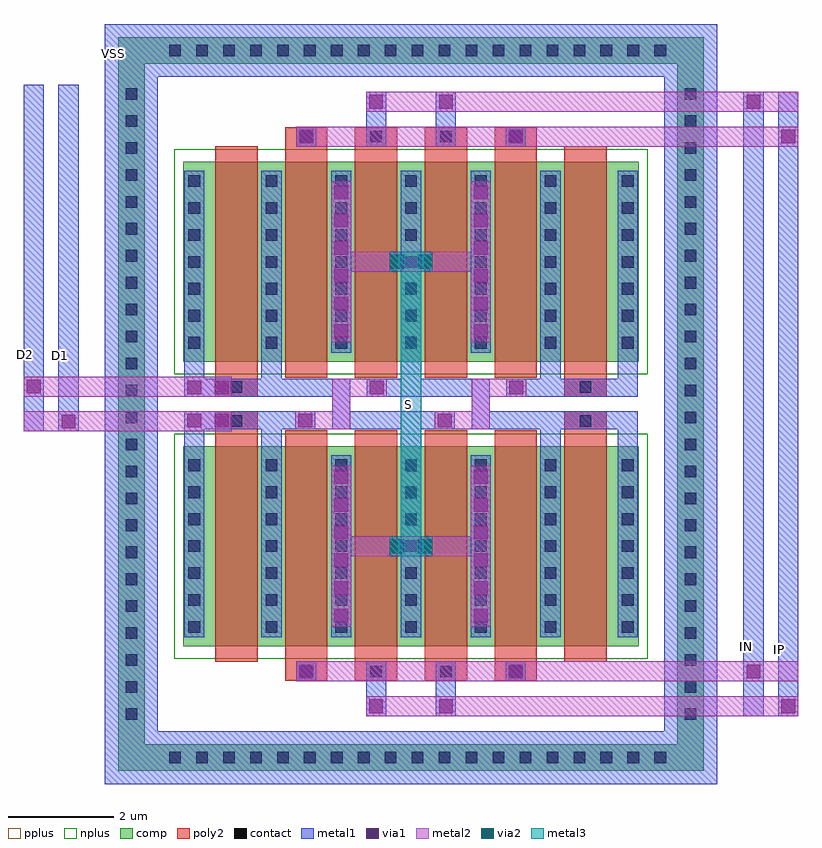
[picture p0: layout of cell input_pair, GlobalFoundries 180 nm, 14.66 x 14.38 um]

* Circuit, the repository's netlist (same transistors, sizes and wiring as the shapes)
** sch_path: /foss/designs/creactive-chipathon-2025/designs/libs/core_ota/input_pair/input_pair.sch
.subckt input_pair IN IP S D2 D1 VSS
*.PININFO VSS:B S:O D1:I D2:I IN:I IP:I
M1 D1 IN S VSS nfet_03v3 L=0.8u W=3.78u nf=1 m=4
M2 D2 IP S VSS nfet_03v3 L=0.8u W=3.78u nf=1 m=4
M3 D1 D1 D1 VSS nfet_03v3 L=0.8u W=3.78u nf=1 m=2
M4 D2 D2 D2 VSS nfet_03v3 L=0.8u W=3.78u nf=1 m=2
.ends

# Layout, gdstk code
from math import pi, radians
import gdstk
lib = gdstk.Library(unit=1e-6, precision=5e-09)
def R(c, l, rs):  # rectangles x0, y0, x1, y1
    for r in rs: c.add(gdstk.rectangle(r[:2], r[2:], *l))
def A(c, l, x, y, w, h, nx, ny, dx, dy):  # array of equal rectangles
    R(c, l, [(x+i*dx, y+j*dy, x+i*dx+w, y+j*dy+h) for i in range(nx) for j in range(ny)])
comp = (22, 0)
poly2 = (30, 0)
pplus = (31, 0)
nplus = (32, 0)
contact = (33, 0)
metal1 = (34, 0)
via1 = (35, 0)
metal2 = (36, 0)
via2 = (38, 0)
metal3 = (42, 0)

nmos_6 = lib.new_cell('nmos_6')
R(nmos_6, comp, [(0.17,0.66,0.59,4.44), (0.59,0.66,8.37,4.44), (8.37,0.66,8.79,4.44)])
A(nmos_6, poly2, 0.78, 0.36, 0.8, 4.38, 6, 1, 1.32, 0)
A(nmos_6, poly2, 2.1, 4.74, 0.8, 0.36, 4, 1, 1.32, 0)
R(nmos_6, poly2, [(0.78,0,1.58,0.36), (7.38,0,8.18,0.36)])
R(nmos_6, nplus, [(0,0.42,8.96,4.68)])
A(nmos_6, contact, 0.27, 0.91, 0.22, 0.22, 1, 7, 0, 0.51)
A(nmos_6, contact, 1.73, 0.91, 0.22, 0.22, 5, 7, 1.32, 0.51)
A(nmos_6, contact, 8.47, 0.91, 0.22, 0.22, 1, 7, 0, 0.51)
A(nmos_6, contact, 2.39, 4.81, 0.22, 0.22, 4, 1, 1.32, 0)
R(nmos_6, contact, [(1.07,0.07,1.29,0.29), (7.67,0.07,7.89,0.29)])
A(nmos_6, metal1, 1.65, 0.83, 0.38, 3.44, 5, 1, 1.32, 0)
A(nmos_6, metal1, 2.31, 4.73, 0.38, 0.38, 4, 1, 1.32, 0)
R(nmos_6, metal1, [(0.99,0,1.37,0.34), (7.59,0,7.97,0.34), (0.19,0.83,0.57,4.27), (8.39,0.83,8.77,4.27)])

input_pair = lib.new_cell('input_pair')
A(input_pair, contact, 2.535, 0.39, 0.22, 0.22, 19, 2, 0.51, 13.38)
A(input_pair, contact, 1.71, 1.215, 0.22, 0.22, 1, 24, 0, 0.51)
A(input_pair, contact, 12.29, 1.215, 0.22, 0.22, 1, 24, 0, 0.51)
A(input_pair, via1, 5.66, 4.11, 0.26, 0.26, 1, 3, 0, 0.52)
A(input_pair, via1, 8.3, 4.11, 0.26, 0.26, 1, 3, 0, 0.52)
A(input_pair, via1, 5.66, 9.49, 0.26, 0.26, 1, 3, 0, 0.52)
A(input_pair, via1, 8.3, 9.49, 0.26, 0.26, 1, 3, 0, 0.52)
R(input_pair, via1, [(6.32,1.34,6.58,1.6), (7.64,1.34,7.9,1.6), (14.12,1.34,14.38,1.6), (5,2,5.26,2.26), (8.96,2,9.22,2.26), (13.46,2,13.72,2.26), (5.66,3.055,5.92,3.315), (8.3,3.055,8.56,3.315), (5.66,3.575,5.92,3.835), (8.3,3.575,8.56,3.835), (5.66,5.685,5.92,5.945), (8.3,5.685,8.56,5.945), (0.5,6.73,0.76,6.99), (2.88,6.75,3.14,7.01), (3.4,6.75,3.66,7.01), (4.98,6.75,5.24,7.01), (7.62,6.75,7.88,7.01), (2.88,7.37,3.14,7.63), (3.4,7.37,3.66,7.63), (6.33,7.37,6.59,7.63), (8.97,7.37,9.23,7.63), (-0.16,7.39,0.1,7.65), (5.66,8.435,5.92,8.695), (8.3,8.435,8.56,8.695), (5.66,8.955,5.92,9.215), (8.3,8.955,8.56,9.215), (5.66,11.065,5.92,11.325), (8.3,11.065,8.56,11.325), (5,12.12,5.26,12.38), (8.96,12.12,9.22,12.38), (14.12,12.12,14.38,12.38), (6.32,12.78,6.58,13.04), (7.64,12.78,7.9,13.04), (13.46,12.78,13.72,13.04)])
R(input_pair, via2, [(6.72,4.37,6.98,4.63), (7.24,4.37,7.5,4.63), (6.72,9.75,6.98,10.01), (7.24,9.75,7.5,10.01)])
input_pair.add(gdstk.FlexPath([(2.82,7.5),(5.79,7.5),(5.79,6.88),(7.94,6.88)], 0.34, ends="flush", simple_path=True, layer=34, datatype=0))  # metal1
input_pair.add(gdstk.FlexPath([(11.4,6.88),(8.43,6.88),(8.43,7.5),(6.27,7.5)], 0.34, ends="flush", simple_path=True, layer=34, datatype=0))  # metal1
input_pair.add(gdstk.FlexPath([(-0.03,6.67),(-0.03,13.23)], 0.38, ends="flush", simple_path=True, layer=34, datatype=0))  # metal1
input_pair.add(gdstk.FlexPath([(0.63,6.67),(0.63,13.23)], 0.38, ends="flush", simple_path=True, layer=34, datatype=0))  # metal1
input_pair.add(gdstk.FlexPath([(14.25,13.1),(14.25,1.28)], 0.38, ends="flush", simple_path=True, layer=34, datatype=0))  # metal1
input_pair.add(gdstk.FlexPath([(13.59,13.1),(13.59,1.28)], 0.38, ends="flush", simple_path=True, layer=34, datatype=0))  # metal1
input_pair.add(gdstk.FlexPath([(11.21,6.22),(11.21,6.71)], 0.38, ends="flush", simple_path=True, layer=34, datatype=0))  # metal1
input_pair.add(gdstk.FlexPath([(9.75,6.22),(9.75,6.71)], 0.38, ends="flush", simple_path=True, layer=34, datatype=0))  # metal1
input_pair.add(gdstk.FlexPath([(7.11,6.22),(7.11,6.71)], 0.38, ends="flush", simple_path=True, layer=34, datatype=0))  # metal1
input_pair.add(gdstk.FlexPath([(3.01,6.22),(3.01,6.71)], 0.38, ends="flush", simple_path=True, layer=34, datatype=0))  # metal1
input_pair.add(gdstk.FlexPath([(4.47,6.22),(4.47,6.71)], 0.38, ends="flush", simple_path=True, layer=34, datatype=0))  # metal1
input_pair.add(gdstk.FlexPath([(11.4,7.5),(8.91,7.5)], 0.34, ends="flush", simple_path=True, layer=34, datatype=0))  # metal1
input_pair.add(gdstk.FlexPath([(5.3,6.88),(2.82,6.88)], 0.34, ends="flush", simple_path=True, layer=34, datatype=0))  # metal1
input_pair.add(gdstk.FlexPath([(11.21,7.67),(11.21,8.16)], 0.38, ends="flush", simple_path=True, layer=34, datatype=0))  # metal1
input_pair.add(gdstk.FlexPath([(9.75,7.67),(9.75,8.16)], 0.38, ends="flush", simple_path=True, layer=34, datatype=0))  # metal1
input_pair.add(gdstk.FlexPath([(7.11,7.67),(7.11,8.16)], 0.38, ends="flush", simple_path=True, layer=34, datatype=0))  # metal1
input_pair.add(gdstk.FlexPath([(3.01,7.67),(3.01,8.16)], 0.38, ends="flush", simple_path=True, layer=34, datatype=0))  # metal1
input_pair.add(gdstk.FlexPath([(4.47,7.67),(4.47,8.16)], 0.38, ends="flush", simple_path=True, layer=34, datatype=0))  # metal1
input_pair.add(gdstk.FlexPath([(7.77,13.1),(7.77,12.44)], 0.38, ends="flush", simple_path=True, layer=34, datatype=0))  # metal1
input_pair.add(gdstk.FlexPath([(6.45,13.1),(6.45,12.44)], 0.38, ends="flush", simple_path=True, layer=34, datatype=0))  # metal1
input_pair.add(gdstk.FlexPath([(7.77,1.28),(7.77,1.94)], 0.38, ends="flush", simple_path=True, layer=34, datatype=0))  # metal1
input_pair.add(gdstk.FlexPath([(6.45,1.28),(6.45,1.94)], 0.38, ends="flush", simple_path=True, layer=34, datatype=0))  # metal1
input_pair.add(gdstk.FlexPath([(11.9,0.5),(1.82,0.5),(1.82,13.88),(12.4,13.88),(12.4,0)], 1, ends="flush", simple_path=True, layer=34, datatype=0))  # metal1
input_pair.add(gdstk.FlexPath([(12.15,0.5),(1.82,0.5),(1.82,13.88),(12.4,13.88),(12.4,0.25)], 0.5, ends="flush", simple_path=True, layer=22, datatype=0))  # comp
input_pair.add(gdstk.FlexPath([(11.9,0.5),(1.82,0.5),(1.82,13.88),(12.4,13.88),(12.4,0)], 1, ends="flush", simple_path=True, layer=31, datatype=0))  # pplus
input_pair.add(gdstk.FlexPath([(7.56,6.88),(8.43,6.88),(8.43,7.5),(9.29,7.5)], 0.34, ends="flush", simple_path=True, layer=36, datatype=0))  # metal2
input_pair.add(gdstk.FlexPath([(4.92,6.88),(5.79,6.88),(5.79,7.5),(6.65,7.5)], 0.34, ends="flush", simple_path=True, layer=36, datatype=0))  # metal2
input_pair.add(gdstk.FlexPath([(-0.22,7.52),(3.72,7.52)], 0.38, ends="flush", simple_path=True, layer=36, datatype=0))  # metal2
input_pair.add(gdstk.FlexPath([(-0.22,6.86),(3.72,6.86)], 0.38, ends="flush", simple_path=True, layer=36, datatype=0))  # metal2
input_pair.add(gdstk.FlexPath([(6.26,1.47),(14.44,1.47)], 0.38, ends="flush", simple_path=True, layer=36, datatype=0))  # metal2
input_pair.add(gdstk.FlexPath([(4.94,2.13),(14.44,2.13)], 0.38, ends="flush", simple_path=True, layer=36, datatype=0))  # metal2
input_pair.add(gdstk.FlexPath([(4.94,12.25),(14.44,12.25)], 0.38, ends="flush", simple_path=True, layer=36, datatype=0))  # metal2
input_pair.add(gdstk.FlexPath([(6.26,12.91),(14.44,12.91)], 0.38, ends="flush", simple_path=True, layer=36, datatype=0))  # metal2
input_pair.add(gdstk.FlexPath([(8.43,6.025),(8.43,2.975)], 0.38, ends="flush", simple_path=True, layer=36, datatype=0))  # metal2
input_pair.add(gdstk.FlexPath([(8.24,4.5),(5.98,4.5)], 0.38, ends="flush", simple_path=True, layer=36, datatype=0))  # metal2
input_pair.add(gdstk.FlexPath([(5.79,6.025),(5.79,2.975)], 0.38, ends="flush", simple_path=True, layer=36, datatype=0))  # metal2
input_pair.add(gdstk.FlexPath([(5.79,11.405),(5.79,8.355)], 0.38, ends="flush", simple_path=True, layer=36, datatype=0))  # metal2
input_pair.add(gdstk.FlexPath([(8.24,9.88),(5.98,9.88)], 0.38, ends="flush", simple_path=True, layer=36, datatype=0))  # metal2
input_pair.add(gdstk.FlexPath([(8.43,11.405),(8.43,8.355)], 0.38, ends="flush", simple_path=True, layer=36, datatype=0))  # metal2
input_pair.add(gdstk.FlexPath([(7.11,4.31),(7.11,10.03)], 0.38, ends="flush", simple_path=True, layer=42, datatype=0))  # metal3
input_pair.add(gdstk.FlexPath([(7.51,4.5),(6.71,4.5)], 0.38, ends="flush", simple_path=True, layer=42, datatype=0))  # metal3
input_pair.add(gdstk.FlexPath([(7.51,9.88),(6.71,9.88)], 0.38, ends="flush", simple_path=True, layer=42, datatype=0))  # metal3
input_pair.add(gdstk.Reference(nmos_6, (11.59,7.33), rotation=pi, x_reflection=True))
input_pair.add(gdstk.Reference(nmos_6, (11.59,7.05), rotation=pi))
input_pair.add(gdstk.Label('IP', (14.09,2.545), layer=34, texttype=0))
input_pair.add(gdstk.Label('IN', (13.45,2.595), layer=34, texttype=0))
input_pair.add(gdstk.Label('D2', (-0.19,8.12), layer=34, texttype=10))
input_pair.add(gdstk.Label('D1', (0.48,8.105), layer=34, texttype=10))
input_pair.add(gdstk.Label('VSS', (1.48,13.83), layer=34, texttype=10))
input_pair.add(gdstk.Label('S', (7.06,7.175), layer=42, texttype=10))

lib.write_gds('input_pair.gds')
